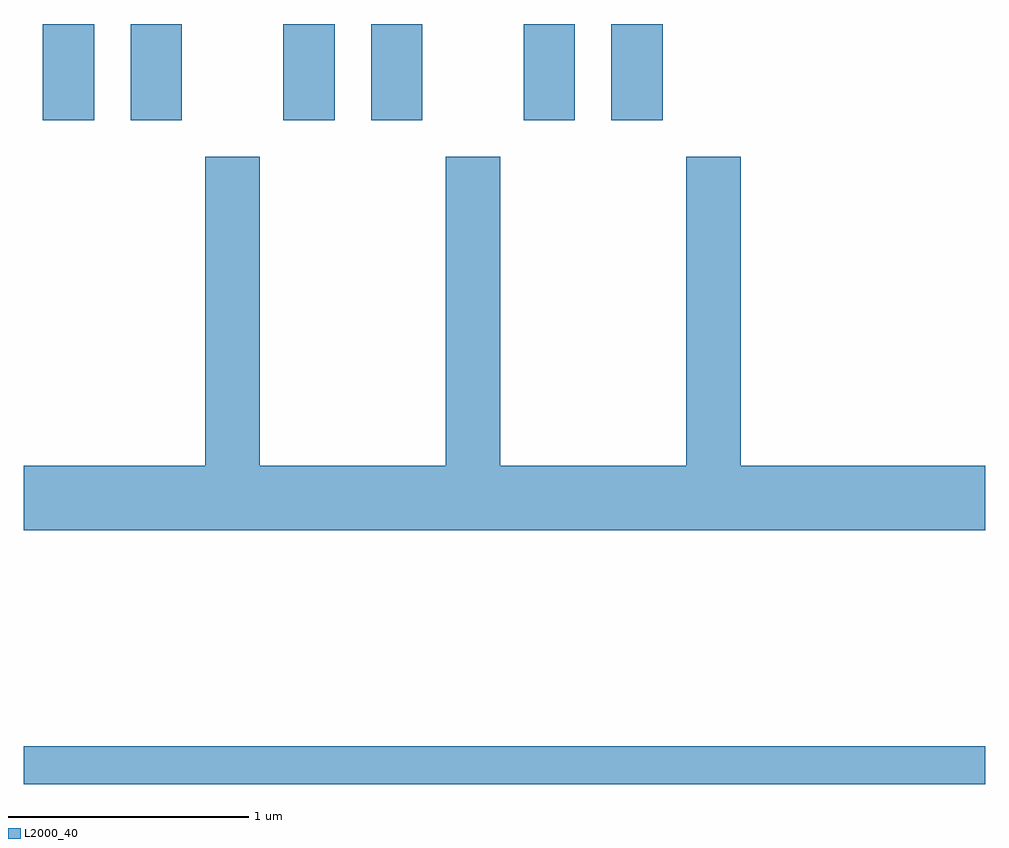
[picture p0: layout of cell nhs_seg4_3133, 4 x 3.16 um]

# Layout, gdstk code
import gdstk
lib = gdstk.Library(unit=1e-6, precision=1e-09)
def R(c, l, rs):  # rectangles x0, y0, x1, y1
    for r in rs: c.add(gdstk.rectangle(r[:2], r[2:], *l))
def P(c, l, *ps):  # polygons
    for p in ps: c.add(gdstk.Polygon(p, *l))
L2000_40 = (2000, 40)

nhs_seg4_3133 = lib.new_cell('nhs_seg4_3133')
R(nhs_seg4_3133, L2000_40, [(277.611,1264.821,281.611,1264.979), (277.691,1267.581,277.904,1267.982), (278.056,1267.581,278.269,1267.982), (278.691,1267.581,278.904,1267.982), (279.056,1267.581,279.269,1267.982), (279.691,1267.581,279.904,1267.982), (280.056,1267.581,280.269,1267.982)])
P(nhs_seg4_3133, L2000_40, [(279.366,1267.429),(279.366,1266.144),(278.594,1266.144),(278.594,1267.429),(278.366,1267.429),(278.366,1266.144),(277.611,1266.144),(277.611,1265.876),(281.611,1265.876),(281.611,1266.144),(280.594,1266.144),(280.594,1267.429),(280.366,1267.429),(280.366,1266.144),(279.594,1266.144),(279.594,1267.429)])

lib.write_gds('nhs_seg4_3133.gds')
